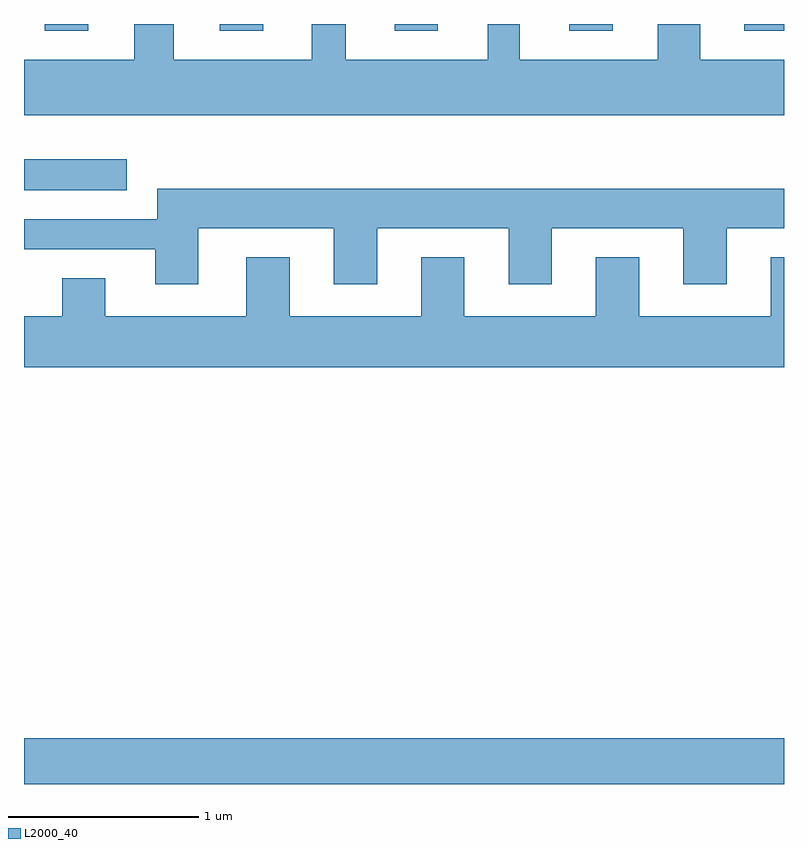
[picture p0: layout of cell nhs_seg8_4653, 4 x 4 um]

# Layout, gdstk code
import gdstk
lib = gdstk.Library(unit=1e-6, precision=1e-09)
def R(c, l, rs):  # rectangles x0, y0, x1, y1
    for r in rs: c.add(gdstk.rectangle(r[:2], r[2:], *l))
def A(c, l, x, y, w, h, nx, ny, dx, dy):  # array of equal rectangles
    R(c, l, [(x+i*dx, y+j*dy, x+i*dx+w, y+j*dy+h) for i in range(nx) for j in range(ny)])
def P(c, l, *ps):  # polygons
    for p in ps: c.add(gdstk.Polygon(p, *l))
L2000_40 = (2000, 40)

nhs_seg8_4653 = lib.new_cell('nhs_seg8_4653')
A(nhs_seg8_4653, L2000_40, 323.721, 1940.306, 0.228, 0.036, 4, 1, 0.92, 0)
R(nhs_seg8_4653, L2000_40, [(323.611,1936.342,327.611,1936.584), (323.611,1939.466,324.153,1939.629), (327.401,1940.306,327.611,1940.342)])
P(nhs_seg8_4653, L2000_40, [(327.611,1940.154),(327.169,1940.154),(327.169,1940.342),(326.946,1940.342),(326.946,1940.154),(326.219,1940.154),(326.219,1940.342),(326.051,1940.342),(326.051,1940.154),(325.304,1940.154),(325.304,1940.342),(325.126,1940.342),(325.126,1940.154),(324.399,1940.154),(324.399,1940.342),(324.191,1940.342),(324.191,1940.154),(323.611,1940.154),(323.611,1939.861),(327.611,1939.861)],
  [(324.529,1939.266),(325.241,1939.266),(325.241,1938.971),(325.469,1938.971),(325.469,1939.266),(326.161,1939.266),(326.161,1938.971),(326.389,1938.971),(326.389,1939.266),(327.081,1939.266),(327.081,1938.971),(327.309,1938.971),(327.309,1939.266),(327.611,1939.266),(327.611,1939.474),(324.311,1939.474),(324.311,1939.314),(323.611,1939.314),(323.611,1939.156),(324.301,1939.156),(324.301,1938.971),(324.529,1938.971)],
  [(327.611,1939.114),(327.541,1939.114),(327.541,1938.804),(326.849,1938.804),(326.849,1939.114),(326.621,1939.114),(326.621,1938.804),(325.929,1938.804),(325.929,1939.114),(325.701,1939.114),(325.701,1938.804),(325.009,1938.804),(325.009,1939.114),(324.781,1939.114),(324.781,1938.804),(324.039,1938.804),(324.039,1939.004),(323.811,1939.004),(323.811,1938.804),(323.611,1938.804),(323.611,1938.536),(327.611,1938.536)])

lib.write_gds('nhs_seg8_4653.gds')
